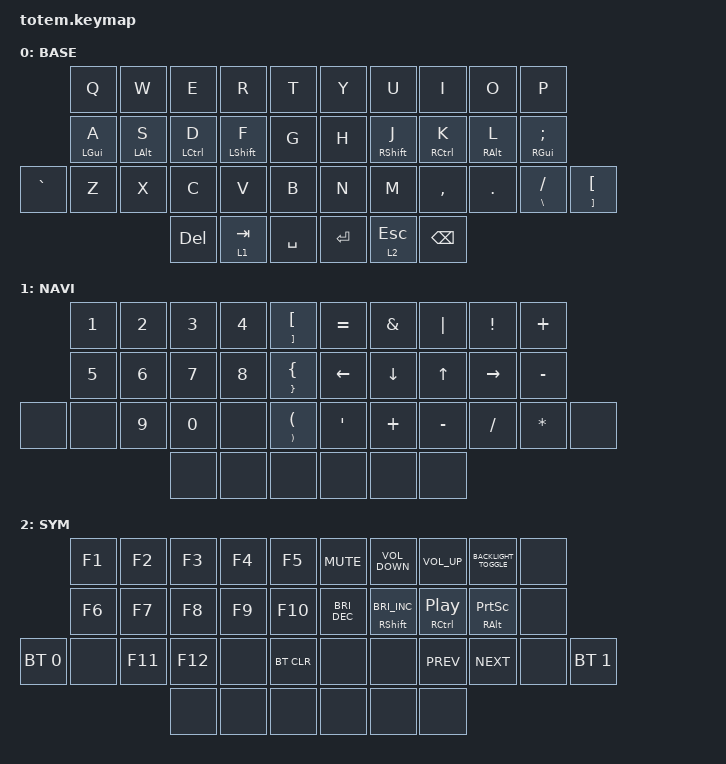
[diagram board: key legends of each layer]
//
//                                                        ▀▀▀▀▀     ▀▀▀▀▀          ▀▀█▀▀
//                                                        ▄▀▀▀▄  ▄  ▄▀▀▀▄  ▄  ▄▀▀▀▄  █  ▄▀▀▀▄
//                                                        █   █  █  █   █  █  █   █  █  █   █
//                                                         ▀▀▀   █   ▀▀▀   █   ▀▀▀   ▀   ▀▀▀
//                                                               █      ▄▄▄█▄▄▄    █   █  
//                                                               ▀      █  █  █     █▄█
//                                                             ▀▀▀▀▀    █  █  █      ▀
//                                                                      ▀  ▀  ▀
//
// ▄▄▄▄▄▄▄▄▄▄▄▄▄▄▄▄▄▄▄▄▄▄▄▄▄▄▄▄▄▄▄▄▄▄▄▄▄▄▄▄▄▄▄▄▄▄▄▄▄▄▄▄▄▄▄▄▄▄▄▄▄▄▄▄▄▄▄▄▄▄▄▄▄▄▄▄▄▄▄▄▄▄▄▄▄▄▄▄▄▄▄▄▄▄▄▄▄▄▄▄▄▄▄▄▄▄▄▄▄▄▄▄▄▄▄▄▄▄▄▄▄▄▄▄▄▄▄▄▄▄▄▄▄▄▄▄▄▄▄▄▄▄▄▄▄▄▄▄▄

#include <behaviors.dtsi>
#include <dt-bindings/zmk/bt.h>
#include <dt-bindings/zmk/keys.h>

#define BASE 0
#define NAV  1
#define SYM  2
#define ADJ  3
#define TVP1 4
#define TVP2 5

&mt {
    quick-tap-ms = <100>;
    global-quick-tap;
    flavor = "tap-preferred";
    tapping-term-ms = <170>;
};

/ {
    combos {
        compatible = "zmk,combos";

        combo_esc {
            timeout-ms = <50>;
            key-positions = <17 16>;
            bindings = <&kp ESC>;
        };
    };

    macros {
        gif: gif {
            label = "giphy";
            compatible = "zmk,behavior-macro";
            #binding-cells = <0>;
            bindings =
                <&macro_press>,
                <&kp LSHFT>,
                <&macro_tap>,
                <&kp N2>,
                <&macro_release>,
                <&kp LSHFT>,
                <&macro_tap>,
                <&kp G &kp I &kp F>;
        };
    };

    keymap {
        compatible = "zmk,keymap";

        // ▄▄▄▄▄▄▄▄▄▄▄▄▄▄▄▄▄▄▄▄▄▄▄▄▄▄▄▄▄▄▄▄▄▄▄▄▄▄▄▄▄▄▄▄▄▄▄▄▄▄▄▄▄▄▄▄▄▄▄▄▄▄▄▄▄▄▄▄▄▄▄▄▄▄▄▄▄▄▄▄▄▄▄▄▄▄▄▄▄▄▄▄▄▄▄▄▄▄▄▄▄▄▄▄▄▄▄▄▄▄▄▄▄▄▄▄▄▄▄▄▄▄▄▄▄▄▄▄▄▄▄▄▄▄▄▄▄▄▄▄▄▄▄▄▄▄▄▄▄

        zero {
            // ┏━━━━━━━━━━━━━━━━━━━━━━━━━━━━━━━━━━━━━━━┓

            label = "BASE";

            // ┗━━━━━━━━━━━━━━━━━━━━━━━━━━━━━━━━━━━━━━━┛
            //             ┏━━━━━━━━━━━┳━━━━━━━━━━━┳━━━━━━━━━━━┳━━━━━━━━━━━┳━━━━━━━━━━━┓   ┏━━━━━━━━━━━┳━━━━━━━━━━━┳━━━━━━━━━━━┳━━━━━━━━━━━┳━━━━━━━━━━━┓
            //             ┃     Q     ┃     W     ┃     F     ┃     P     ┃     G     ┃   ┃     J     ┃     L     ┃     U     ┃     Y     ┃     ;     ┃
            //             ┣━━━━━━━━━━━╋━━━━━━━━━━━╋━━━━━━━━━━━╋━━━━━━━━━━━╋━━━━━━━━━━━┫   ┣━━━━━━━━━━━╋━━━━━━━━━━━╋━━━━━━━━━━━╋━━━━━━━━━━━╋━━━━━━━━━━━┫
            //             ┃     A     ┃     R     ┃     S     ┃     T     ┃     D     ┃   ┃     H     ┃     N     ┃     E     ┃     I     ┃     O     ┃
            // ┏━━━━━━━━━━━╋━━━━━━━━━━━╋━━━━━━━━━━━╋━━━━━━━━━━━╋━━━━━━━━━━━╋━━━━━━━━━━━┫   ┣━━━━━━━━━━━╋━━━━━━━━━━━╋━━━━━━━━━━━╋━━━━━━━━━━━╋━━━━━━━━━━━╋━━━━━━━━━━━┓
            // ┃     Q     ┃     Z     ┃     X     ┃     C     ┃     V     ┃     B     ┃   ┃     K     ┃     M     ┃     ,     ┃     .     ┃     /     ┃     \     ┃
            // ┗━━━━━━━━━━━┻━━━━━━━━━━━┻━━━━━━━━━━━╋━━━━━━━━━━━╋━━━━━━━━━━━╋━━━━━━━━━━━┫   ┣━━━━━━━━━━━╋━━━━━━━━━━━╋━━━━━━━━━━━╋━━━━━━━━━━━┻━━━━━━━━━━━┻━━━━━━━━━━━┛
            //                                     ┃    DEL    ┃    TAB    ┃    SPC    ┃   ┃   ENTER   ┃           ┃   BSPC    ┃
            //                                     ┗━━━━━━━━━━━┻━━━━━━━━━━━┻━━━━━━━━━━━┛   ┗━━━━━━━━━━━┻━━━━━━━━━━━┻━━━━━━━━━━━┛

            bindings = <
           &kp Q           &kp W           &kp E               &kp R             &kp T        &kp Y    &kp U        &kp I        &kp O            &kp P
           &mt LEFT_GUI A  &mt LEFT_ALT S  &mt LEFT_CONTROL D  &mt LEFT_SHIFT F  &kp G        &kp H    &mt RSHFT J  &mt RCTRL K  &mt RIGHT_ALT L  &mt RIGHT_GUI SEMICOLON
&kp GRAVE  &kp Z           &kp X           &kp C               &kp V             &kp B        &kp N    &kp M        &kp COMMA    &kp DOT          &mt BACKSLASH SLASH      &mt RIGHT_BRACKET LEFT_BRACKET
                                           &kp DEL             &lt 1 TAB         &kp SPACE    &kp RET  &lt 2 ESC    &kp BSPC
            >;
        };

        // ▄▄▄▄▄▄▄▄▄▄▄▄▄▄▄▄▄▄▄▄▄▄▄▄▄▄▄▄▄▄▄▄▄▄▄▄▄▄▄▄▄▄▄▄▄▄▄▄▄▄▄▄▄▄▄▄▄▄▄▄▄▄▄▄▄▄▄▄▄▄▄▄▄▄▄▄▄▄▄▄▄▄▄▄▄▄▄▄▄▄▄▄▄▄▄▄▄▄▄▄▄▄▄▄▄▄▄▄▄▄▄▄▄▄▄▄▄▄▄▄▄▄▄▄▄▄▄▄▄▄▄▄▄▄▄▄▄▄▄▄▄▄▄▄▄▄▄▄▄

        one {
            // ┏━━━━━━━━━━━━━━━━━━━━━━━━━━━━━━━━━━━━━━━┓

            label = "NAVI";

            // ┗━━━━━━━━━━━━━━━━━━━━━━━━━━━━━━━━━━━━━━━┛
            //             ┏━━━━━━━━━━━┳━━━━━━━━━━━┳━━━━━━━━━━━┳━━━━━━━━━━━┳━━━━━━━━━━━┓   ┏━━━━━━━━━━━┳━━━━━━━━━━━┳━━━━━━━━━━━┳━━━━━━━━━━━┳━━━━━━━━━━━┓
            //             ┃           ┃           ┃     UP    ┃           ┃     {     ┃   ┃     }     ┃     7     ┃     8     ┃     9     ┃     +     ┃
            //             ┣━━━━━━━━━━━╋━━━━━━━━━━━╋━━━━━━━━━━━╋━━━━━━━━━━━╋━━━━━━━━━━━┫   ┣━━━━━━━━━━━╋━━━━━━━━━━━╋━━━━━━━━━━━╋━━━━━━━━━━━╋━━━━━━━━━━━┫
            //             ┃   SHIFT   ┃   LEFT    ┃    DOWN   ┃   RIGHT   ┃     [     ┃   ┃     ]     ┃     4     ┃     5     ┃     6     ┃     -     ┃
            // ┏━━━━━━━━━━━╋━━━━━━━━━━━╋━━━━━━━━━━━╋━━━━━━━━━━━╋━━━━━━━━━━━╋━━━━━━━━━━━┫   ┣━━━━━━━━━━━╋━━━━━━━━━━━╋━━━━━━━━━━━╋━━━━━━━━━━━╋━━━━━━━━━━━╋━━━━━━━━━━━┓
            // ┃           ┃           ┃   P UP    ┃  C LOCK   ┃  P DOWN   ┃     (     ┃   ┃     )     ┃     1     ┃     2     ┃     3     ┃     *     ┃           ┃
            // ┗━━━━━━━━━━━┻━━━━━━━━━━━┻━━━━━━━━━━━╋━━━━━━━━━━━╋━━━━━━━━━━━╋━━━━━━━━━━━┫   ┣━━━━━━━━━━━╋━━━━━━━━━━━╋━━━━━━━━━━━╋━━━━━━━━━━━┻━━━━━━━━━━━┻━━━━━━━━━━━┛
            //                                     ┃           ┃    TAB    ┃    SPC    ┃   ┃    DEL    ┃     0     ┃           ┃
            //                                     ┗━━━━━━━━━━━┻━━━━━━━━━━━┻━━━━━━━━━━━┛   ┗━━━━━━━━━━━┻━━━━━━━━━━━┻━━━━━━━━━━━┛

            bindings = <
       &kp N1  &kp N2        &kp N3  &kp N4  &mt RIGHT_BRACKET LEFT_BRACKET            &kp EQUAL  &kp AMPERSAND  &kp PIPE      &kp EXCLAMATION  &kp PLUS
       &kp N5  &kp NUMBER_6  &kp N7  &kp N8  &mt RIGHT_BRACE LEFT_BRACE                &kp LEFT   &kp DOWN       &kp UP_ARROW  &kp RIGHT        &kp MINUS
&none  &none   &kp N9        &kp N0  &none   &mt RIGHT_PARENTHESIS LEFT_PARENTHESIS    &kp SQT    &kp PLUS       &kp MINUS     &kp SLASH        &kp ASTERISK  &none
                             &none   &none   &none                                     &none      &none          &none
            >;
        };

        // ▄▄▄▄▄▄▄▄▄▄▄▄▄▄▄▄▄▄▄▄▄▄▄▄▄▄▄▄▄▄▄▄▄▄▄▄▄▄▄▄▄▄▄▄▄▄▄▄▄▄▄▄▄▄▄▄▄▄▄▄▄▄▄▄▄▄▄▄▄▄▄▄▄▄▄▄▄▄▄▄▄▄▄▄▄▄▄▄▄▄▄▄▄▄▄▄▄▄▄▄▄▄▄▄▄▄▄▄▄▄▄▄▄▄▄▄▄▄▄▄▄▄▄▄▄▄▄▄▄▄▄▄▄▄▄▄▄▄▄▄▄▄▄▄▄▄▄▄▄

        two {
            // ┏━━━━━━━━━━━━━━━━━━━━━━━━━━━━━━━━━━━━━━━┓

            label = "SYM";

            // ┗━━━━━━━━━━━━━━━━━━━━━━━━━━━━━━━━━━━━━━━┛
            //             ┏━━━━━━━━━━━┳━━━━━━━━━━━┳━━━━━━━━━━━┳━━━━━━━━━━━┳━━━━━━━━━━━┓   ┏━━━━━━━━━━━┳━━━━━━━━━━━┳━━━━━━━━━━━┳━━━━━━━━━━━┳━━━━━━━━━━━┓
            //             ┃     !     ┃     @     ┃     #     ┃     $     ┃     %     ┃   ┃     ˆ     ┃     &     ┃     Ü     ┃     '     ┃     "     ┃
            //             ┣━━━━━━━━━━━╋━━━━━━━━━━━╋━━━━━━━━━━━╋━━━━━━━━━━━╋━━━━━━━━━━━┫   ┣━━━━━━━━━━━╋━━━━━━━━━━━╋━━━━━━━━━━━╋━━━━━━━━━━━╋━━━━━━━━━━━┫
            //             ┃     Ä     ┃           ┃    SZ     ┃           ┃           ┃   ┃   MUTE    ┃   YEN     ┃   EURO    ┃  POUND    ┃     Ö     ┃
            // ┏━━━━━━━━━━━╋━━━━━━━━━━━╋━━━━━━━━━━━╋━━━━━━━━━━━╋━━━━━━━━━━━╋━━━━━━━━━━━┫   ┣━━━━━━━━━━━╋━━━━━━━━━━━╋━━━━━━━━━━━╋━━━━━━━━━━━╋━━━━━━━━━━━╋━━━━━━━━━━━┓
            // ┃           ┃  EMAIL1   ┃  EMAIL2   ┃           ┃           ┃           ┃   ┃   VOL-    ┃   VOL+    ┃   LAST    ┃   NEXT    ┃     \     ┃           ┃
            // ┗━━━━━━━━━━━┻━━━━━━━━━━━┻━━━━━━━━━━━╋━━━━━━━━━━━╋━━━━━━━━━━━╋━━━━━━━━━━━┫   ┣━━━━━━━━━━━╋━━━━━━━━━━━╋━━━━━━━━━━━╋━━━━━━━━━━━┻━━━━━━━━━━━┻━━━━━━━━━━━┛
            //                                     ┃           ┃    GIF    ┃    ADJ    ┃   ┃           ┃           ┃           ┃
            //                                     ┗━━━━━━━━━━━┻━━━━━━━━━━━┻━━━━━━━━━━━┛   ┗━━━━━━━━━━━┻━━━━━━━━━━━┻━━━━━━━━━━━┛

            bindings = <
              &kp F1  &kp F2   &kp F3   &kp F4  &kp F5        &kp K_MUTE            &kp C_VOLUME_DOWN                 &kp C_VOLUME_UP         &kp C_BACKLIGHT_TOGGLE     &none
              &kp F6  &kp F7   &kp F8   &kp F9  &kp F10       &kp C_BRIGHTNESS_DEC  &mt RIGHT_SHIFT C_BRIGHTNESS_INC  &mt RCTRL C_PLAY_PAUSE  &mt RIGHT_ALT PRINTSCREEN  &none
&bt BT_SEL 0  &none   &kp F11  &kp F12  &none   &bt BT_CLR    &none                 &none                             &kp C_PREV              &kp C_NEXT                 &none  &bt BT_SEL 1
                               &none    &none   &none         &none                 &none                             &none
            >;
        };

        // ▄▄▄▄▄▄▄▄▄▄▄▄▄▄▄▄▄▄▄▄▄▄▄▄▄▄▄▄▄▄▄▄▄▄▄▄▄▄▄▄▄▄▄▄▄▄▄▄▄▄▄▄▄▄▄▄▄▄▄▄▄▄▄▄▄▄▄▄▄▄▄▄▄▄▄▄▄▄▄▄▄▄▄▄▄▄▄▄▄▄▄▄▄▄▄▄▄▄▄▄▄▄▄▄▄▄▄▄▄▄▄▄▄▄▄▄▄▄▄▄▄▄▄▄▄▄▄▄▄▄▄▄▄▄▄▄▄▄▄▄▄▄▄▄▄▄▄▄▄
        // ▄▄▄▄▄▄▄▄▄▄▄▄▄▄▄▄▄▄▄▄▄▄▄▄▄▄▄▄▄▄▄▄▄▄▄▄▄▄▄▄▄▄▄▄▄▄▄▄▄▄▄▄▄▄▄▄▄▄▄▄▄▄▄▄▄▄▄▄▄▄▄▄▄▄▄▄▄▄▄▄▄▄▄▄▄▄▄▄▄▄▄▄▄▄▄▄▄▄▄▄▄▄▄▄▄▄▄▄▄▄▄▄▄▄▄▄▄▄▄▄▄▄▄▄▄▄▄▄▄▄▄▄▄▄▄▄▄▄▄▄▄▄▄▄▄▄▄▄▄
        // ▄▄▄▄▄▄▄▄▄▄▄▄▄▄▄▄▄▄▄▄▄▄▄▄▄▄▄▄▄▄▄▄▄▄▄▄▄▄▄▄▄▄▄▄▄▄▄▄▄▄▄▄▄▄▄▄▄▄▄▄▄▄▄▄▄▄▄▄▄▄▄▄▄▄▄▄▄▄▄▄▄▄▄▄▄▄▄▄▄▄▄▄▄▄▄▄▄▄▄▄▄▄▄▄▄▄▄▄▄▄▄▄▄▄▄▄▄▄▄▄▄▄▄▄▄▄▄▄▄▄▄▄▄▄▄▄▄▄▄▄▄▄▄▄▄▄▄▄▄
    };
};
